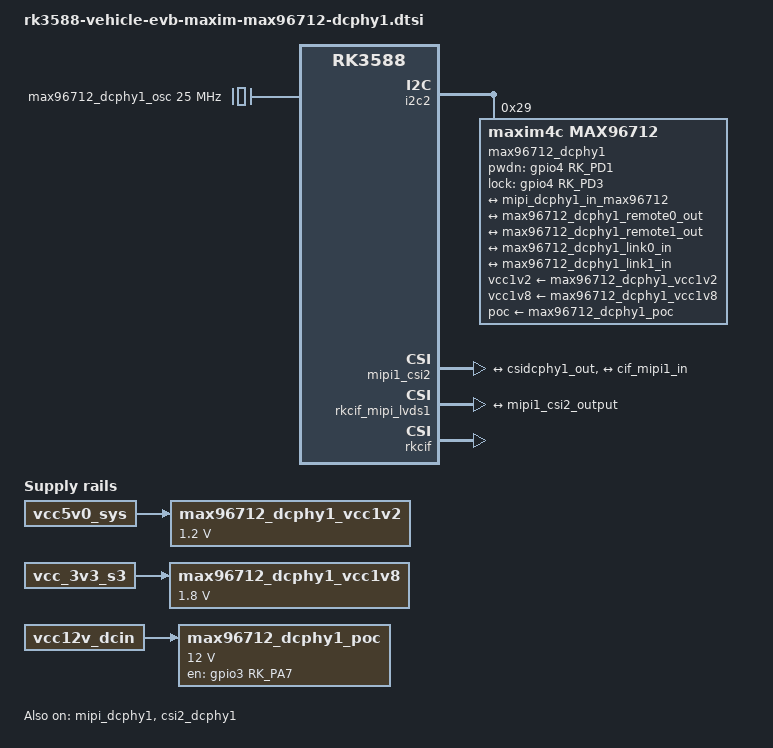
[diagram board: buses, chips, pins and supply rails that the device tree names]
// SPDX-License-Identifier: (GPL-2.0+ OR MIT)
/*
 * Copyright (c) 2023 Rockchip Electronics Co., Ltd.
 *
 */
#include <dt-bindings/display/media-bus-format.h>

/ {
	max96712_dcphy1_osc: max96712-dcphy1-oscillator {
		compatible = "fixed-clock";
		#clock-cells = <1>;
		clock-frequency = <25000000>;
		clock-output-names = "max96712-dcphy1-osc";
	};

	max96712_dcphy1_vcc1v2: max96712-dcphy1-vcc1v2 {
		compatible = "regulator-fixed";
		regulator-name = "max96712_dcphy1_vcc1v2";
		regulator-boot-on;
		regulator-always-on;
		regulator-min-microvolt = <1200000>;
		regulator-max-microvolt = <1200000>;
		startup-delay-us = <850>;
		vin-supply = <&vcc5v0_sys>;
	};

	max96712_dcphy1_vcc1v8: max96712-dcphy1-vcc1v8 {
		compatible = "regulator-fixed";
		regulator-name = "max96712_dcphy1_vcc1v8";
		regulator-boot-on;
		regulator-always-on;
		regulator-min-microvolt = <1800000>;
		regulator-max-microvolt = <1800000>;
		startup-delay-us = <200>;
		vin-supply = <&vcc_3v3_s3>;
	};

	max96712_dcphy1_poc: max96712-dcphy1-poc {
		compatible = "regulator-fixed";
		regulator-name = "max96712_dcphy1_poc";
		regulator-boot-on;
		regulator-always-on;
		regulator-min-microvolt = <12000000>;
		regulator-max-microvolt = <12000000>;
		enable-active-high;
		gpio = <&gpio3 RK_PA7 GPIO_ACTIVE_HIGH>;
		startup-delay-us = <1050>;
		off-on-delay-us = <515000>;
		vin-supply = <&vcc12v_dcin>;
	};
};

&mipi_dcphy1 {
	status = "okay";
};

&csi2_dcphy1 {
	status = "okay";

	ports {
		#address-cells = <1>;
		#size-cells = <0>;
		port@0 {
			reg = <0>;
			#address-cells = <1>;
			#size-cells = <0>;

			mipi_dcphy1_in_max96712: endpoint@1 {
				reg = <1>;
				remote-endpoint = <&max96712_dcphy1_out>;
				data-lanes = <1 2>;
			};
		};
		port@1 {
			reg = <1>;
			#address-cells = <1>;
			#size-cells = <0>;

			csidcphy1_out: endpoint@0 {
				reg = <0>;
				remote-endpoint = <&mipi1_csi2_input>;
			};
		};
	};
};

&i2c2 {
	status = "okay";
	pinctrl-names = "default";
	pinctrl-0 = <&i2c2m4_xfer>;

	max96712_dcphy1: max96712@29 {
		compatible = "maxim4c,max96712";
		status = "okay";
		reg = <0x29>;
		clock-names = "xvclk";
		clocks = <&max96712_dcphy1_osc 0>;
		pinctrl-names = "default";
		pinctrl-0 = <&max96712_dcphy1_pwdn>, <&max96712_dcphy1_errb>, <&max96712_dcphy1_lock>;
		power-domains = <&power RK3588_PD_VI>;
		rockchip,grf = <&sys_grf>;
		pwdn-gpios = <&gpio4 RK_PD1 GPIO_ACTIVE_HIGH>;
		lock-gpios = <&gpio4 RK_PD3 GPIO_ACTIVE_HIGH>;
		vcc1v2-supply = <&max96712_dcphy1_vcc1v2>;
		vcc1v8-supply = <&max96712_dcphy1_vcc1v8>;
		poc-supply = <&max96712_dcphy1_poc>;

		rockchip,camera-module-index = <0>;
		rockchip,camera-module-facing = "back";
		rockchip,camera-module-name = "max96712";
		rockchip,camera-module-lens-name = "max96712";

		port {
			max96712_dcphy1_out: endpoint {
				remote-endpoint = <&mipi_dcphy1_in_max96712>;
				data-lanes = <1 2>;
			};
		};

		/* support mode config start */
		support-mode-config {
			status = "okay";

			bus-format = <MEDIA_BUS_FMT_UYVY8_2X8>;
			sensor-width = <1600>;
			sensor-height = <1300>;
			max-fps-numerator = <10000>;
			max-fps-denominator = <300000>;
			bpp = <16>;
			link-freq-idx = <24>;
			vc-array = <0x10 0x20 0x40 0x80>; // VC0~3: bit4~7
		};
		/* support mode config end */

		/* serdes local device start */
		serdes-local-device {
			status = "okay";

			/* GMSL LINK config start */
			gmsl-links {
				status = "okay";

				link-vdd-ldo1-en = <1>;
				link-vdd-ldo2-en = <1>;

				// Link A: link-id = 0
				gmsl-link-config-0 {
					status = "okay";
					link-id = <0>; // Link ID: 0/1/2/3

					link-type = <1>;
					link-rx-rate = <0>;
					link-tx-rate = <0>;

					port {
						max96712_dcphy1_link0_in: endpoint {
							remote-endpoint = <&max96712_dcphy1_remote0_out>;
						};
					};

					link-init-sequence {
						seq-item-size = <5>; // reg-addr-len + reg-val-len * 2 + 1
						reg-addr-len = <2>; // 1: 8bits, 2: 16bits
						reg-val-len = <1>; // 1: 8bits, 2: 16bits, 3: 24bits

						// reg_addr reg_val val_mask delay
						init-sequence = [
							14 D1 03 00 00 // VGAHiGain
							14 45 00 00 00 // Disable SSC
						];
					};
				};

				// Link B: link-id = 1
				gmsl-link-config-1 {
					status = "okay";
					link-id = <1>; // Link ID: 0/1/2/3

					link-type = <1>;
					link-rx-rate = <0>;
					link-tx-rate = <0>;

					port {
						max96712_dcphy1_link1_in: endpoint {
							remote-endpoint = <&max96712_dcphy1_remote1_out>;
						};
					};

					link-init-sequence {
						seq-item-size = <5>; // reg-addr-len + reg-val-len * 2 + 1
						reg-addr-len = <2>; // 1: 8bits, 2: 16bits
						reg-val-len = <1>; // 1: 8bits, 2: 16bits, 3: 24bits

						// reg_addr reg_val val_mask delay
						init-sequence = [
							15 D1 03 00 00 // VGAHiGain
							15 45 00 00 00 // Disable SSC
						];
					};
				};
			};
			/* GMSL LINK config end */

			/* VIDEO PIPE config start */
			video-pipes {
				status = "okay";

				// Video Pipe 0
				video-pipe-config-0 {
					status = "okay";
					pipe-id = <0>; // Video Pipe ID: 0/1/2/3/4/5/6/7

					pipe-idx = <0>; // Video Pipe X/Y/Z/U: 0/1/2/3
					link-idx = <0>; // Link A/B/C/D: 0/1/2/3

					pipe-init-sequence {
						seq-item-size = <5>; // reg-addr-len + reg-val-len * 2 + 1
						reg-addr-len = <2>; // 1: 8bits, 2: 16bits
						reg-val-len = <1>; // 1: 8bits, 2: 16bits, 3: 24bits

						// reg_addr reg_val val_mask delay
						init-sequence = [
							// Send YUV422, FS, and FE from Video Pipe 0 to Controller 0
							09 0B 07 00 00 // Enable 0/1/2 SRC/DST Mappings
							09 2D 00 00 00 // SRC/DST 0/1/2 -> CSI2 Controller 0;
							// For the following MSB 2 bits = VC, LSB 6 bits = DT
							09 0D 1e 00 00 // SRC0 VC = 0, DT = YUV422 8bit
							09 0E 1e 00 00 // DST0 VC = 0, DT = YUV422 8bit
							09 0F 00 00 00 // SRC1 VC = 0, DT = Frame Start
							09 10 00 00 00 // DST1 VC = 0, DT = Frame Start
							09 11 01 00 00 // SRC2 VC = 0, DT = Frame End
							09 12 01 00 00 // DST2 VC = 0, DT = Frame End
							// pipe Cross
							01 D9 59 00 00 // pipe 0: Inverts Cross VS
						];
					};
				};

				// Video Pipe 1
				video-pipe-config-1 {
					status = "okay";
					pipe-id = <1>; // Video Pipe 1: pipe-id = 1

					pipe-idx = <0>; // Video Pipe X/Y/Z/U: 0/1/2/3
					link-idx = <1>; // Link A/B/C/D: 0/1/2/3

					pipe-init-sequence {
						seq-item-size = <5>; // reg-addr-len + reg-val-len * 2 + 1
						reg-addr-len = <2>; // 1: 8bits, 2: 16bits
						reg-val-len = <1>; // 1: 8bits, 2: 16bits, 3: 24bits

						// reg_addr reg_val val_mask delay
						init-sequence = [
							// Send YUV422, FS, and FE from Video Pipe 1 to Controller 0
							09 4B 07 00 00 // Enable 0/1/2 SRC/DST Mappings
							09 6D 00 00 00 // SRC/DST 0/1/2 -> CSI2 Controller 0;
							// For the following MSB 2 bits = VC, LSB 6 bits = DT
							09 4D 1e 00 00 // SRC0 VC = 0, DT = YUV422 8bit
							09 4E 5e 00 00 // DST0 VC = 1, DT = YUV422 8bit
							09 4F 00 00 00 // SRC1 VC = 0, DT = Frame Start
							09 50 40 00 00 // DST1 VC = 1, DT = Frame Start
							09 51 01 00 00 // SRC2 VC = 0, DT = Frame End
							09 52 41 00 00 // DST2 VC = 1, DT = Frame End
							// pipe Cross
							01 F9 59 00 00 // pipe 1: Inverts Cross VS
						];
					};
				};

				// Software override for parallel mode
				parallel-mode-config {
					status = "okay";

					parallel-init-sequence {
						seq-item-size = <5>; // reg-addr-len + reg-val-len * 2 + 1
						reg-addr-len = <2>; // 1: 8bits, 2: 16bits
						reg-val-len = <1>; // 1: 8bits, 2: 16bits, 3: 24bits

						// reg_addr reg_val val_mask delay
						init-sequence = [
							// Enable software override for all pipes since GMSL1 data is parallel mode, bpp=8, dt=0x1e(yuv-8)
							04 1A f0 00 00 // pipe 0/1/2/3: Enable YUV8-/10-bit mux mode
							04 0B 40 00 00 // pipe 0 bpp=0x08: Datatypes = 0x2A, 0x10-12, 0x31-37
							04 0C 00 00 00 // pipe 0 and 1 VC software override: 0x00
							04 0D 00 00 00 // pipe 2 and 3 VC software override: 0x00
							04 0E 5e 00 00 // pipe 0 DT=0x1E: YUV422 8-bit
							04 0F 7e 00 00 // pipe 1 DT=0x1E: YUV422 8-bit
							04 10 7a 00 00 // pipe 2 DT=0x1E, pipe 3 DT=0x1E: YUV422 8-bit
							04 11 48 00 00 // pipe 1 bpp=0x08: Datatypes = 0x2A, 0x10-12, 0x31-37
							04 12 20 00 00 // pipe 2 bpp=0x08, pipe 3 bpp=0x08: Datatypes = 0x2A, 0x10-12, 0x31-37
							04 15 c0 c0 00 // pipe 0/1 enable software overide
							04 18 c0 c0 00 // pipe 2/3 enable software overide
						];
					};
				};
			};
			/* VIDEO PIPE config end */

			/* MIPI TXPHY config start */
			mipi-txphys {
				status = "okay";

				phy-mode = <1>;
				phy-force-clock-out = <1>;
				phy-force-clk0-en = <0>;
				phy-force-clk3-en = <0>;

				// MIPI TXPHY A: phy-id = 0
				mipi-txphy-config-0 {
					status = "okay";
					phy-id = <0>; // MIPI TXPHY ID: 0/1/2/3

					phy-type = <0>;
					auto-deskew = <0x00>;
					data-lane-num = <2>;
					data-lane-map = <0x4>;
					vc-ext-en = <0>;
				};
			};
			/* MIPI TXPHY config end */

			/* local device extra init sequence */
			extra-init-sequence {
				status = "disabled";

				seq-item-size = <5>; // reg-addr-len + reg-val-len * 2 + 1
				reg-addr-len = <2>; // 1: 8bits, 2: 16bits
				reg-val-len = <1>; // 1: 8bits, 2: 16bits, 3: 24bits

				// reg_addr reg_val val_mask delay
				init-sequence = [
					// common init sequence such as fsync / gpio and so on
				];
			};
		};
		/* serdes local device end */

		/* serdes remote device start */
		serdes-remote-device-0 {
			compatible = "maxim4c,link0,max9295";
			status = "okay";

			remote-id = <0>; // Same as Link ID: 0/1/2/3

			// Serializer i2c 7bit address remap
			ser-i2c-addr-def = <0x40>;
			ser-i2c-addr-map = <0x41>; // 0: disable remap

			port {
				max96712_dcphy1_remote0_out: endpoint {
					remote-endpoint = <&max96712_dcphy1_link0_in>;
				};
			};

			remote-init-sequence {
				seq-item-size = <5>; // reg-addr-len + reg-val-len * 2 + 1
				reg-addr-len = <2>; // 1: 8bits, 2: 16bits
				reg-val-len = <1>; // 1: 8bits, 2: 16bits, 3: 24bits

				// reg_addr reg_val val_mask delay
				init-sequence = [
					00 01 04 00 00 // RX_RATE: 187.5Mbps, TX_RATE: 3Gbps
					00 11 03 00 00 // Coax Drive
					02 D6 03 00 00 // MFP8: GPIO_OUT_DIS = 1, GPIO_TX_EN = 1
					03 F0 51 00 00 // RCLK: 27MHz/24MHz (ALT),Enable reference-generation PLL, Enable pre-defined clock setting for reference-generation PLL
					00 03 07 00 00 // RCLK: Enable RCLK output from altermative MFP pin, RCLKOUT clock select reference PLL
					00 06 b1 00 00 // RCLK: GMSL2, Enable RCLK output, i2c selected
					02 C1 10 00 00 // MFP1: GPIO_OUT pin output is driven to 1 when GPIO_RX_EN = 0
					02 C2 60 00 00 // MFP1: OUT_TYPE = 1: Push-pull, PULL_UPDN_SEL[1:0] = 0b01: Pullup
					00 07 07 00 00 // Enable Parallel video input, Parallel HS and VS Enable
					00 10 05 00 00 // AUTO_LINK = 0, LINK_CFG = 1: LinkA is selected, REG_ENABLE = 1: Regulator enabled
					00 12 14 00 00 // REG_MNL = 1: Enable LDO on/off state controlled by REG_ENABLE
					01 00 62 00 00 // Video X, Line CRC enabled, ENC_MODE = 2: HS, VS, DE encoding on, color bits sent only when DE is high
					01 01 50 00 00 // Video X, BPP = 0x10
					00 53 10 00 00 // Video X, TX_STR_SEL = 0: Stream ID = 0 for packets from this channel
					00 02 13 00 00 // Video transmit enable for Port X
				];
			};
		};

		serdes-remote-device-1 {
			compatible = "maxim4c,link1,max9295";
			status = "okay";

			remote-id = <1>; // Same as Link ID: 0/1/2/3

			// Serializer i2c 7bit address remap
			ser-i2c-addr-def = <0x40>;
			ser-i2c-addr-map = <0x42>; // 0: disable remap

			port {
				max96712_dcphy1_remote1_out: endpoint {
					remote-endpoint = <&max96712_dcphy1_link1_in>;
				};
			};

			remote-init-sequence {
				seq-item-size = <5>; // reg-addr-len + reg-val-len * 2 + 1
				reg-addr-len = <2>; // 1: 8bits, 2: 16bits
				reg-val-len = <1>; // 1: 8bits, 2: 16bits, 3: 24bits

				// reg_addr reg_val val_mask delay
				init-sequence = [
					00 01 04 00 00 // RX_RATE: 187.5Mbps, TX_RATE: 3Gbps
					00 11 03 00 00 // Coax Drive
					02 D6 03 00 00 // MFP8: GPIO_OUT_DIS = 1, GPIO_TX_EN = 1
					03 F0 51 00 00 // RCLK: 27MHz/24MHz (ALT),Enable reference-generation PLL, Enable pre-defined clock setting for reference-generation PLL
					00 03 07 00 00 // RCLK: Enable RCLK output from altermative MFP pin, RCLKOUT clock select reference PLL
					00 06 b1 00 00 // RCLK: GMSL2, Enable RCLK output, i2c selected
					02 C1 10 00 00 // MFP1: GPIO_OUT pin output is driven to 1 when GPIO_RX_EN = 0
					02 C2 60 00 00 // MFP1: OUT_TYPE = 1: Push-pull, PULL_UPDN_SEL[1:0] = 0b01: Pullup
					00 07 07 00 00 // Enable Parallel video input, Parallel HS and VS Enable
					00 10 05 00 00 // AUTO_LINK = 0, LINK_CFG = 1: LinkA is selected, REG_ENABLE = 1: Regulator enabled
					00 12 14 00 00 // REG_MNL = 1: Enable LDO on/off state controlled by REG_ENABLE
					01 00 62 00 00 // Video X, Line CRC enabled, ENC_MODE = 2: HS, VS, DE encoding on, color bits sent only when DE is high
					01 01 50 00 00 // Video X, BPP = 0x10
					00 53 10 00 00 // Video X, TX_STR_SEL = 0: Stream ID = 0 for packets from this channel
					00 02 13 00 00 // Video transmit enable for Port X
				];
			};
		};
		/* serdes remote device end */
	};
};

&mipi1_csi2 {
	status = "okay";

	ports {
		#address-cells = <1>;
		#size-cells = <0>;

		port@0 {
			reg = <0>;
			#address-cells = <1>;
			#size-cells = <0>;

			mipi1_csi2_input: endpoint@1 {
				reg = <1>;
				remote-endpoint = <&csidcphy1_out>;
			};
		};

		port@1 {
			reg = <1>;
			#address-cells = <1>;
			#size-cells = <0>;

			mipi1_csi2_output: endpoint@0 {
				reg = <0>;
				remote-endpoint = <&cif_mipi1_in>;
			};
		};
	};
};

&rkcif_mipi_lvds1 {
	status = "okay";
	/* parameters for do cif reset detecting:
	 * index0: monitor mode,
		   0 for idle,
		   1 for continue,
		   2 for trigger,
		   3 for hotplug (for nextchip)
	 * index1: the frame id to start timer,
		   min is 2
	 * index2: frame num of monitoring cycle
	 * index3: err time for keep monitoring
		   after finding out err (ms)
	 * index4: csi2 err reference val for resetting
	 */
	rockchip,cif-monitor = <3 2 1 1000 5>;

	port {
		cif_mipi1_in: endpoint {
			remote-endpoint = <&mipi1_csi2_output>;
		};
	};
};

&rkcif {
	status = "okay";
	rockchip,android-usb-camerahal-enable;
};

&rkcif_mmu {
	status = "okay";
};

&pinctrl {
	max96712-dcphy1 {
		max96712_dcphy1_pwdn: max96712-dcphy1-pwdn {
			rockchip,pins = <4 RK_PD1 RK_FUNC_GPIO &pcfg_pull_up>;
		};

		max96712_dcphy1_errb: max96712-dcphy1-errb {
			rockchip,pins = <4 RK_PD2 RK_FUNC_GPIO &pcfg_pull_up>;
		};

		max96712_dcphy1_lock: max96712-dcphy1-lock {
			rockchip,pins = <4 RK_PD3 RK_FUNC_GPIO &pcfg_pull_up>;
		};
	};
};
